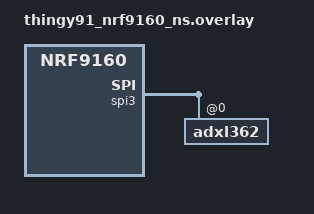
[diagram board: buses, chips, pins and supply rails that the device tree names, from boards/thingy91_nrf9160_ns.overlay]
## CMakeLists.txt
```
#
# Copyright (c) 2021 Nordic Semiconductor ASA
#
# SPDX-License-Identifier: LicenseRef-Nordic-5-Clause
#

cmake_minimum_required(VERSION 3.20.0)

find_package(Zephyr REQUIRED HINTS $ENV{ZEPHYR_BASE})
project(asset_tracker_v2)
zephyr_compile_definitions(PROJECT_NAME=${PROJECT_NAME})

# NORDIC SDK APP START
target_sources(app PRIVATE src/main.c)
# NORDIC SDK APP END

# Include source directory
target_include_directories(app PRIVATE src)
target_include_directories(app PRIVATE include/${BOARD}/)

# Application directories
add_subdirectory(src/modules)
add_subdirectory(src/events)

add_subdirectory_ifdef(CONFIG_CLOUD_MODULE src/cloud)
add_subdirectory_ifdef(CONFIG_SENSOR_MODULE src/ext_sensors)
add_subdirectory_ifdef(CONFIG_WATCHDOG_APPLICATION src/watchdog)
```

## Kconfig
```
#
# Copyright (c) 2021 Nordic Semiconductor ASA
#
# SPDX-License-Identifier: LicenseRef-Nordic-5-Clause
#

# Asset Tracker v2 requires UART_INTERRUPT_DRIVEN to be enabled when SERIAL is used in order to
# receive AT Commands.
config UART_INTERRUPT_DRIVEN
	default y if SERIAL

menu "Asset Tracker v2"

config ASSET_TRACKER_V2_APP_VERSION
	string "Asset Tracker application firmware version"
	default "0.0.0-development"

config ASSET_TRACKER_V2_APP_VERSION_MAX_LEN
	int "Maximum length of the application firmware version"
	default 150

rsource "src/modules/Kconfig.modules_common"
rsource "src/modules/Kconfig.cloud_module"
rsource "src/modules/Kconfig.data_module"
rsource "src/modules/Kconfig.location_module"
rsource "src/modules/Kconfig.modem_module"
rsource "src/modules/Kconfig.sensor_module"
rsource "src/modules/Kconfig.ui_module"
rsource "src/modules/Kconfig.util_module"
rsource "src/modules/Kconfig.debug_module"

rsource "src/cloud/cloud_codec/Kconfig"
rsource "src/watchdog/Kconfig"
rsource "src/events/Kconfig"

endmenu

menu "Zephyr Kernel"
source "Kconfig.zephyr"
endmenu

module = APPLICATION_MODULE
module-str = Application module
source "subsys/logging/Kconfig.template.log_config"
```

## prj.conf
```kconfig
#
# Copyright (c) 2021 Nordic Semiconductor ASA
#
# SPDX-License-Identifier: LicenseRef-Nordic-5-Clause
#

# General config
CONFIG_NEWLIB_LIBC=y
CONFIG_NEWLIB_LIBC_NANO=y
CONFIG_NEWLIB_LIBC_FLOAT_PRINTF=y
CONFIG_ASSERT=y
CONFIG_REBOOT=y
CONFIG_FPU=y

# Heap and stacks
CONFIG_HEAP_MEM_POOL_SIZE=47250
CONFIG_MAIN_STACK_SIZE=2048
CONFIG_SYSTEM_WORKQUEUE_STACK_SIZE=4096
CONFIG_HW_STACK_PROTECTION=y
# Increase AT monitor heap size to be able to fit both neighbor cell measurement
# and other AT notifications that may come in rapid succession.
CONFIG_AT_MONITOR_HEAP_SIZE=1024

# Logging
CONFIG_LOG=y
CONFIG_LOG_MODE_DEFERRED=y

# nRF modem library
CONFIG_NRF_MODEM_LIB=y
CONFIG_NRF_MODEM_LIB_ON_FAULT_APPLICATION_SPECIFIC=y

# AT Host library - Used to send AT commands directy from an UART terminal and to allow
#		    integration with nRF Connect for Desktop LTE Link monitor application.
CONFIG_AT_HOST_LIBRARY=y

# Network
CONFIG_NETWORKING=y
CONFIG_NET_NATIVE=n
CONFIG_NET_SOCKETS=y
CONFIG_NET_SOCKETS_OFFLOAD=y
CONFIG_NET_IPV6=y
CONFIG_NET_IPV4=y

# LTE link control
CONFIG_LTE_NETWORK_MODE_LTE_M_GPS=y
## Power saving timers.
### 320 hours PSM.
CONFIG_LTE_PSM_REQ=y
CONFIG_LTE_PSM_REQ_RPTAU="11000001"
### 20 seconds active time.
CONFIG_LTE_PSM_REQ_RAT="00001010"

# Settings - Used to store real-time device configuration to flash.
CONFIG_SETTINGS=y
CONFIG_SETTINGS_FCB=y
CONFIG_FCB=y

# FOTA
CONFIG_FOTA_DOWNLOAD=y
CONFIG_DFU_TARGET=y
CONFIG_DOWNLOAD_CLIENT=y
CONFIG_DOWNLOAD_CLIENT_HTTP_FRAG_SIZE_1024=y
CONFIG_DOWNLOAD_CLIENT_STACK_SIZE=4096
CONFIG_DOWNLOAD_CLIENT_BUF_SIZE=2300
CONFIG_DOWNLOAD_CLIENT_MAX_HOSTNAME_SIZE=128

# Flash - Used in FOTA, settings and storage for P-GPS.
CONFIG_FLASH=y
CONFIG_FLASH_PAGE_LAYOUT=y
CONFIG_FLASH_MAP=y
CONFIG_STREAM_FLASH=y
CONFIG_MPU_ALLOW_FLASH_WRITE=y

# MCUBOOT
CONFIG_BOOTLOADER_MCUBOOT=y
CONFIG_IMG_MANAGER=y
CONFIG_MCUBOOT_IMG_MANAGER=y
CONFIG_IMG_ERASE_PROGRESSIVELY=y
CONFIG_SECURE_BOOT=y
CONFIG_BUILD_S1_VARIANT=y

# Watchdog
CONFIG_WATCHDOG_APPLICATION=y

# Application Event Manager
CONFIG_APP_EVENT_MANAGER=y
CONFIG_APP_EVENT_MANAGER_LOG_EVENT_TYPE=n

# cJSON - Used in cloud data encoding.
CONFIG_CJSON_LIB=y

# CAF - Common Application Framework
CONFIG_CAF=y
CONFIG_LED=n
CONFIG_CAF_LEDS=n
CONFIG_CAF_INIT_LOG_LED_READY_EVENTS=n
CONFIG_CAF_INIT_LOG_LED_EVENTS=n
CONFIG_CAF_INIT_LOG_MODULE_STATE_EVENTS=n

# Location related configuration
CONFIG_LOCATION=y
CONFIG_LOCATION_REQUEST_DEFAULT_METHOD_FIRST_GNSS=y
CONFIG_LOCATION_REQUEST_DEFAULT_METHOD_SECOND_CELLULAR=y
CONFIG_LOCATION_REQUEST_DEFAULT_GNSS_TIMEOUT=90000
CONFIG_LOCATION_REQUEST_DEFAULT_CELLULAR_TIMEOUT=11000
CONFIG_LOCATION_DATA_DETAILS=y
CONFIG_LOCATION_LOG_LEVEL_WRN=y

# Default cloud transport service
CONFIG_NRF_CLOUD_MQTT=y
CONFIG_HW_ID_LIBRARY=y
CONFIG_HW_ID_LIBRARY_SOURCE_IMEI=y

CONFIG_NRF_CLOUD_LOCATION=y

# LTE-M on T-Mobile Austria not stable without
CONFIG_NRF_CLOUD_MQTT_KEEPALIVE=300
```

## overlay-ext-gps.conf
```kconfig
CONFIG_MODEM_ANTENNA_GNSS_EXTERNAL=y
```

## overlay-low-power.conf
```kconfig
#
# Copyright (c) 2021 Nordic Semiconductor ASA
#
# SPDX-License-Identifier: LicenseRef-Nordic-5-Clause
#

# This file contains configurations to achieve the lowest power consumption by
# disabling LEDs and logging over UART.

# Disable serial interface.
CONFIG_SERIAL=n

# Disable UART console.
CONFIG_UART_CONSOLE=n

# Disable event logging.
CONFIG_APP_EVENT_MANAGER_SHOW_EVENTS=n

# Disable AT host library.
CONFIG_AT_HOST_LIBRARY=n

# Disable logging
CONFIG_LOG=n

# Disable TFM logging
CONFIG_TFM_LOG_LEVEL_SILENCE=y
```

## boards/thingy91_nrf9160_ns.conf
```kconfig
#
# Copyright (c) 2021 Nordic Semiconductor ASA
#
# SPDX-License-Identifier: LicenseRef-Nordic-5-Clause
#

# Configuration file for Thingy:91.
# This file is merged with prj.conf in the application folder, and options
# set here will take precedence if they are present in both files.

# Configuration related to external sensors.
CONFIG_SENSOR=y
CONFIG_SPI=y

# ADXL362 - Low-Power accelerometer used for activity and inactivity detection.
CONFIG_ADXL362=y
CONFIG_ADXL362_TRIGGER_GLOBAL_THREAD=y
CONFIG_ADXL362_INTERRUPT_MODE=1
CONFIG_ADXL362_ABS_REF_MODE=1
CONFIG_ADXL362_ACCEL_RANGE_2G=y
CONFIG_ADXL362_ACCEL_ODR_400=y

# BME680 - Temperature and humidity sensor.
CONFIG_BME680=n

# CAF - Common Application Framework
CONFIG_PWM=n
CONFIG_LED_PWM=n

# Disable MCUboot DFU -- incompatible with static partitions
CONFIG_SECURE_BOOT=n
CONFIG_BUILD_S1_VARIANT=n
```

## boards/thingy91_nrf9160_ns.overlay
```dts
/*
 * Copyright (c) 2021 Nordic Semiconductor ASA
 *
 * SPDX-License-Identifier: LicenseRef-Nordic-5-Clause
 */

/ {
	aliases {
		accelerometer = &adxl362;
	};
};

&spi3 {
	adxl362: adxl362@0 {
		autosleep;
	};
};
```

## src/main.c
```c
/*
 * Copyright (c) 2021 Nordic Semiconductor ASA
 *
 * SPDX-License-Identifier: LicenseRef-Nordic-5-Clause
 */

#include <zephyr/kernel.h>
#include <stdio.h>
#include <string.h>
#include <stdlib.h>
#include <app_event_manager.h>
#include <modem/nrf_modem_lib.h>
#include <zephyr/sys/reboot.h>
#include <net/nrf_cloud.h>

/* Module name is used by the Application Event Manager macros in this file */
#define MODULE main
#include <caf/events/module_state_event.h>

#include "modules_common.h"
#include "events/app_module_event.h"
#include "events/cloud_module_event.h"
#include "events/data_module_event.h"
#include "events/sensor_module_event.h"
#include "events/util_module_event.h"
#include "events/modem_module_event.h"

#include <zephyr/logging/log.h>
#include <zephyr/logging/log_ctrl.h>

LOG_MODULE_REGISTER(MODULE, CONFIG_APPLICATION_MODULE_LOG_LEVEL);

/* Message structure. Events from other modules are converted to messages
 * in the Application Event Manager handler, and then queued up in the message queue
 * for processing in the main thread.
 */
struct app_msg_data {
	union {
		struct cloud_module_event cloud;
		struct sensor_module_event sensor;
		struct data_module_event data;
		struct util_module_event util;
		struct modem_module_event modem;
		struct app_module_event app;
	} module;
};

/* Application module super states. */
static enum state_type {
	STATE_INIT,
	STATE_RUNNING,
	STATE_SHUTDOWN
} state;

/* Application sub states. The application can be in either active or passive
 * mode.
 *
 * Active mode: Sensor data and GNSS position is acquired at a configured
 *		interval and sent to cloud.
 *
 * Passive mode: Sensor data and GNSS position is acquired when movement is
 *		 detected, or after the configured movement timeout occurs.
 */
static enum sub_state_type {
	SUB_STATE_ACTIVE_MODE,
	SUB_STATE_PASSIVE_MODE,
} sub_state;

/* Internal copy of the device configuration. */
static struct cloud_data_cfg app_cfg;

/* Variable that keeps track whether modem static data has been successfully sampled by the
 * modem module. Modem static data does not change and only needs to be sampled and sent to cloud
 * once.
 */
static bool modem_static_sampled;

/* Variable that is set high whenever a sample request is ongoing. */
static bool sample_request_ongoing;

/* Variable that is set high whenever the device is considered active (under movement). */
static bool activity;

/* Timer callback used to signal when timeout has occurred both in active
 * and passive mode.
 */
static void data_sample_timer_handler(struct k_timer *timer);

/* Application module message queue. */
#define APP_QUEUE_ENTRY_COUNT		10
#define APP_QUEUE_BYTE_ALIGNMENT	4

/* Data fetching timeouts */
#define DATA_FETCH_TIMEOUT_DEFAULT 2

K_MSGQ_DEFINE(msgq_app, sizeof(struct app_msg_data), APP_QUEUE_ENTRY_COUNT,
	      APP_QUEUE_BYTE_ALIGNMENT);

/* Data sample timer used in active mode. */
K_TIMER_DEFINE(data_sample_timer, data_sample_timer_handler, NULL);

/* Movement timer used to detect movement timeouts in passive mode. */
K_TIMER_DEFINE(movement_timeout_timer, data_sample_timer_handler, NULL);

/* Movement resolution timer decides the period after movement that consecutive
 * movements are ignored and do not cause data collection. This is used to
 * lower power consumption by limiting how often GNSS search is performed and
 * data is sent on air.
 */
K_TIMER_DEFINE(movement_resolution_timer, NULL, NULL);

/* Module data structure to hold information of the application module, which
 * opens up for using convenience functions available for modules.
 */
static struct module_data self = {
	.name = "app",
	.msg_q = &msgq_app,
	.supports_shutdown = true,
};

/* Convenience functions used in internal state handling. */
static char *state2str(enum state_type new_state)
{
	switch (new_state) {
	case STATE_INIT:
		return "STATE_INIT";
	case STATE_RUNNING:
		return "STATE_RUNNING";
	case STATE_SHUTDOWN:
		return "STATE_SHUTDOWN";
	default:
		return "Unknown";
	}
}

static char *sub_state2str(enum sub_state_type new_state)
{
	switch (new_state) {
	case SUB_STATE_ACTIVE_MODE:
		return "SUB_STATE_ACTIVE_MODE";
	case SUB_STATE_PASSIVE_MODE:
		return "SUB_STATE_PASSIVE_MODE";
	default:
		return "Unknown";
	}
}

static void state_set(enum state_type new_state)
{
	if (new_state == state) {
		LOG_DBG("State: %s", state2str(state));
		return;
	}

	LOG_DBG("State transition %s --> %s",
		state2str(state),
		state2str(new_state));

	state = new_state;
}

static void sub_state_set(enum sub_state_type new_state)
{
	if (new_state == sub_state) {
		LOG_DBG("Sub state: %s", sub_state2str(sub_state));
		return;
	}

	LOG_DBG("Sub state transition %s --> %s",
		sub_state2str(sub_state),
		sub_state2str(new_state));

	sub_state = new_state;
}

#if defined(CONFIG_NRF_MODEM_LIB)
/* Check the return code from nRF modem library initialization to ensure that
 * the modem is rebooted if a modem firmware update is ready to be applied or
 * an error condition occurred during firmware update or library initialization.
 */
static void modem_init(void)
{
	int ret = nrf_modem_lib_init();

	/* Handle return values relating to modem firmware update */
	switch (ret) {
	case 0:
		/* Initialization successful, no action required. */
		return;
	case NRF_MODEM_DFU_RESULT_OK:
		LOG_DBG("MODEM UPDATE OK. Will run new modem firmware after reboot");
		break;
	case NRF_MODEM_DFU_RESULT_UUID_ERROR:
	case NRF_MODEM_DFU_RESULT_AUTH_ERROR:
		LOG_ERR("MODEM UPDATE ERROR %d. Will run old firmware", ret);
		break;
	case NRF_MODEM_DFU_RESULT_HARDWARE_ERROR:
	case NRF_MODEM_DFU_RESULT_INTERNAL_ERROR:
		LOG_ERR("MODEM UPDATE FATAL ERROR %d. Modem failure", ret);
		break;
	case NRF_MODEM_DFU_RESULT_VOLTAGE_LOW:
		LOG_ERR("MODEM UPDATE CANCELLED %d.", ret);
		LOG_ERR("Please reboot once you have sufficient power for the DFU");
		break;
	default:
		/* All non-zero return codes other than DFU result codes are
		 * considered irrecoverable and a reboot is needed.
		 */
		LOG_ERR("nRF modem lib initialization failed, error: %d", ret);
		break;
	}

#if defined(CONFIG_NRF_CLOUD_FOTA)
	/* Ignore return value, rebooting below */
	(void)nrf_cloud_fota_pending_job_validate(NULL);
#endif
	LOG_DBG("Rebooting...");
	LOG_PANIC();
	sys_reboot(SYS_REBOOT_COLD);
}
#endif /* CONFIG_NRF_MODEM_LIB */

/* Application Event Manager handler. Puts event data into messages and adds them to the
 * application message queue.
 */
static bool app_event_handler(const struct app_event_header *aeh)
{
	struct app_msg_data msg = {0};
	bool enqueue_msg = false;

	if (is_cloud_module_event(aeh)) {
		struct cloud_module_event *evt = cast_cloud_module_event(aeh);

		msg.module.cloud = *evt;
		enqueue_msg = true;
	}

	if (is_app_module_event(aeh)) {
		struct app_module_event *evt = cast_app_module_event(aeh);

		msg.module.app = *evt;
		enqueue_msg = true;
	}

	if (is_data_module_event(aeh)) {
		struct data_module_event *evt = cast_data_module_event(aeh);

		msg.module.data = *evt;
		enqueue_msg = true;
	}

	if (is_sensor_module_event(aeh)) {
		struct sensor_module_event *evt = cast_sensor_module_event(aeh);

		msg.module.sensor = *evt;
		enqueue_msg = true;
	}

	if (is_util_module_event(aeh)) {
		struct util_module_event *evt = cast_util_module_event(aeh);

		msg.module.util = *evt;
		enqueue_msg = true;
	}

	if (is_modem_module_event(aeh)) {
		struct modem_module_event *evt = cast_modem_module_event(aeh);

		msg.module.modem = *evt;
		enqueue_msg = true;
	}

	if (enqueue_msg) {
		int err = module_enqueue_msg(&self, &msg);

		if (err) {
			LOG_ERR("Message could not be enqueued");
			SEND_ERROR(app, APP_EVT_ERROR, err);
		}
	}

	return false;
}

static void data_sample_timer_handler(struct k_timer *timer)
{
	ARG_UNUSED(timer);

	/* Cancel if a previous sample request has not completed. */
	if (sample_request_ongoing) {
		return;
	}

	/* Cancel if the data sample timer expired and device is not under activity in passive mode.
	 * Movement timeout timer triggers sampling also when there is no movement.
	 */
	if (timer == &data_sample_timer && sub_state == SUB_STATE_PASSIVE_MODE && !activity) {
		return;
	}

	SEND_EVENT(app, APP_EVT_DATA_GET_ALL);
}

/* Static module functions. */
static void passive_mode_timers_start_all(void)
{
	LOG_DBG("Device mode: Passive");
	LOG_DBG("Start movement timeout: %d seconds interval", app_cfg.movement_timeout);

	LOG_DBG("%d seconds until movement can trigger a new data sample/publication",
		app_cfg.movement_resolution);

	k_timer_start(&data_sample_timer,
		      K_SECONDS(app_cfg.movement_resolution),
		      K_SECONDS(app_cfg.movement_resolution));

	k_timer_start(&movement_resolution_timer,
		      K_SECONDS(app_cfg.movement_resolution),
		      K_SECONDS(0));

	k_timer_start(&movement_timeout_timer,
		      K_SECONDS(app_cfg.movement_timeout),
		      K_SECONDS(app_cfg.movement_timeout));
}

static void active_mode_timers_start_all(void)
{
	LOG_DBG("Device mode: Active");
	LOG_DBG("Start data sample timer: %d seconds interval", app_cfg.active_wait_timeout);

	k_timer_start(&data_sample_timer,
		      K_SECONDS(app_cfg.active_wait_timeout),
		      K_SECONDS(app_cfg.active_wait_timeout));

	k_timer_stop(&movement_resolution_timer);
	k_timer_stop(&movement_timeout_timer);
}

static void activity_event_handle(enum sensor_module_event_type sensor_event)
{
	__ASSERT(((sensor_event == SENSOR_EVT_MOVEMENT_ACTIVITY_DETECTED) ||
		  (sensor_event == SENSOR_EVT_MOVEMENT_INACTIVITY_DETECTED)),
		  "Unknown event");

	activity = (sensor_event == SENSOR_EVT_MOVEMENT_ACTIVITY_DETECTED) ? true : false;

	if (sample_request_ongoing) {
		LOG_DBG("Sample request ongoing, abort request.");
		return;
	}

	if ((sensor_event == SENSOR_EVT_MOVEMENT_ACTIVITY_DETECTED) &&
	    (k_timer_remaining_get(&movement_resolution_timer) != 0)) {
		LOG_DBG("Movement resolution timer has not expired, abort request.");
		return;
	}

	SEND_EVENT(app, APP_EVT_DATA_GET_ALL);
	passive_mode_timers_start_all();
}

static void data_get(void)
{
	struct app_module_event *app_module_event = new_app_module_event();

	__ASSERT(app_module_event, "Not enough heap left to allocate event");

	size_t count = 0;

	/* Set a low sample timeout. If location is requested, the sample timeout
	 * will be increased to accommodate the location request.
	 */
	app_module_event->timeout = DATA_FETCH_TIMEOUT_DEFAULT;

	/* Specify which data that is to be included in the transmission. */
	app_module_event->data_list[count++] = APP_DATA_MODEM_DYNAMIC;
	app_module_event->data_list[count++] = APP_DATA_BATTERY;
	app_module_event->data_list[count++] = APP_DATA_ENVIRONMENTAL;

	if (!modem_static_sampled) {
		app_module_event->data_list[count++] = APP_DATA_MODEM_STATIC;
	}

	app_module_event->data_list[count++] = APP_DATA_LOCATION;

	/* Set application module timeout when location sampling is requested.
		* This is selected to be long enough so that most of the GNSS would
		* have enough time to run to get a fix. We also want it to be smaller than
		* the sampling interval (120s). So, 110s was selected but we take
		* minimum of sampling interval minus 5 (just some selected number) and 110.
		* And mode (active or passive) is taken into account.
		* If the timeout would become smaller than 5s, we want to ensure some time for
		* the modules so the minimum value for application module timeout is 5s.
		*/
	app_module_event->timeout = (app_cfg.active_mode) ?
		MIN(app_cfg.active_wait_timeout - 5, 110) :
		MIN(app_cfg.movement_resolution - 5, 110);
	app_module_event->timeout = MAX(app_module_event->timeout, 5);

	/* Set list count to number of data types passed in app_module_event. */
	app_module_event->count = count;
	app_module_event->type = APP_EVT_DATA_GET;

	APP_EVENT_SUBMIT(app_module_event);
}

/* Message handler for STATE_INIT. */
static void on_state_init(struct app_msg_data *msg)
{
	if (IS_EVENT(msg, data, DATA_EVT_CONFIG_INIT)) {
		/* Keep a copy of the new configuration. */
		app_cfg = msg->module.data.data.cfg;

		if (app_cfg.active_mode) {
			active_mode_timers_start_all();
		} else {
			passive_mode_timers_start_all();
		}

		state_set(STATE_RUNNING);
		sub_state_set(app_cfg.active_mode ? SUB_STATE_ACTIVE_MODE :
						    SUB_STATE_PASSIVE_MODE);
	}
}

/* Message handler for STATE_RUNNING. */
static void on_state_running(struct app_msg_data *msg)
{
	if (IS_EVENT(msg, cloud, CLOUD_EVT_CONNECTED)) {
		data_get();
	}

	if (IS_EVENT(msg, app, APP_EVT_DATA_GET_ALL)) {
		data_get();
	}
}

/* Message handler for SUB_STATE_PASSIVE_MODE. */
void on_sub_state_passive(struct app_msg_data *msg)
{
	if (IS_EVENT(msg, data, DATA_EVT_CONFIG_READY)) {
		/* Keep a copy of the new configuration. */
		app_cfg = msg->module.data.data.cfg;

		if (app_cfg.active_mode) {
			active_mode_timers_start_all();
			sub_state_set(SUB_STATE_ACTIVE_MODE);
			return;
		}

		passive_mode_timers_start_all();
	}

	if ((IS_EVENT(msg, sensor, SENSOR_EVT_MOVEMENT_ACTIVITY_DETECTED)) ||
	    (IS_EVENT(msg, sensor, SENSOR_EVT_MOVEMENT_INACTIVITY_DETECTED))) {
		activity_event_handle(msg->module.sensor.type);
	}
}

/* Message handler for SUB_STATE_ACTIVE_MODE. */
static void on_sub_state_active(struct app_msg_data *msg)
{
	if (IS_EVENT(msg, data, DATA_EVT_CONFIG_READY)) {
		/* Keep a copy of the new configuration. */
		app_cfg = msg->module.data.data.cfg;

		if (!app_cfg.active_mode) {
			passive_mode_timers_start_all();
			sub_state_set(SUB_STATE_PASSIVE_MODE);
			return;
		}

		active_mode_timers_start_all();
	}
}

/* Message handler for all states. */
static void on_all_events(struct app_msg_data *msg)
{
	if (IS_EVENT(msg, util, UTIL_EVT_SHUTDOWN_REQUEST)) {
		k_timer_stop(&data_sample_timer);
		k_timer_stop(&movement_timeout_timer);
		k_timer_stop(&movement_resolution_timer);

		SEND_SHUTDOWN_ACK(app, APP_EVT_SHUTDOWN_READY, self.id);
		state_set(STATE_SHUTDOWN);
	}

	if (IS_EVENT(msg, modem, MODEM_EVT_MODEM_STATIC_DATA_READY)) {
		modem_static_sampled = true;
	}

	if (IS_EVENT(msg, app, APP_EVT_DATA_GET)) {
		sample_request_ongoing = true;
	}

	if (IS_EVENT(msg, data, DATA_EVT_DATA_READY)) {
		sample_request_ongoing = false;
	}
}

int main(void)
{
	int err;
	struct app_msg_data msg = { 0 };

	if (app_event_manager_init()) {
		/* Without the Application Event Manager, the application will not work
		 * as intended. A reboot is required in an attempt to recover.
		 */
		LOG_ERR("Application Event Manager could not be initialized, rebooting...");
		k_sleep(K_SECONDS(5));
		sys_reboot(SYS_REBOOT_COLD);
	} else {
		module_set_state(MODULE_STATE_READY);
		SEND_EVENT(app, APP_EVT_START);

#if defined(CONFIG_NRF_MODEM_LIB)
		modem_init();
#endif
	}

	self.thread_id = k_current_get();

	err = module_start(&self);
	if (err) {
		LOG_ERR("Failed starting module, error: %d", err);
		SEND_ERROR(app, APP_EVT_ERROR, err);
	}

	while (true) {
		module_get_next_msg(&self, &msg);

		switch (state) {
		case STATE_INIT:
			on_state_init(&msg);
			break;
		case STATE_RUNNING:
			switch (sub_state) {
			case SUB_STATE_ACTIVE_MODE:
				on_sub_state_active(&msg);
				break;
			case SUB_STATE_PASSIVE_MODE:
				on_sub_state_passive(&msg);
				break;
			default:
				LOG_ERR("Unknown sub state");
				break;
			}

			on_state_running(&msg);
			break;
		case STATE_SHUTDOWN:
			/* The shutdown state has no transition. */
			break;
		default:
			LOG_ERR("Unknown state");
			break;
		}

		on_all_events(&msg);
	}
	return 0;
}

APP_EVENT_LISTENER(MODULE, app_event_handler);
APP_EVENT_SUBSCRIBE_EARLY(MODULE, cloud_module_event);
APP_EVENT_SUBSCRIBE(MODULE, app_module_event);
APP_EVENT_SUBSCRIBE(MODULE, data_module_event);
APP_EVENT_SUBSCRIBE(MODULE, util_module_event);
APP_EVENT_SUBSCRIBE_FINAL(MODULE, sensor_module_event);
APP_EVENT_SUBSCRIBE_FINAL(MODULE, modem_module_event);
```
